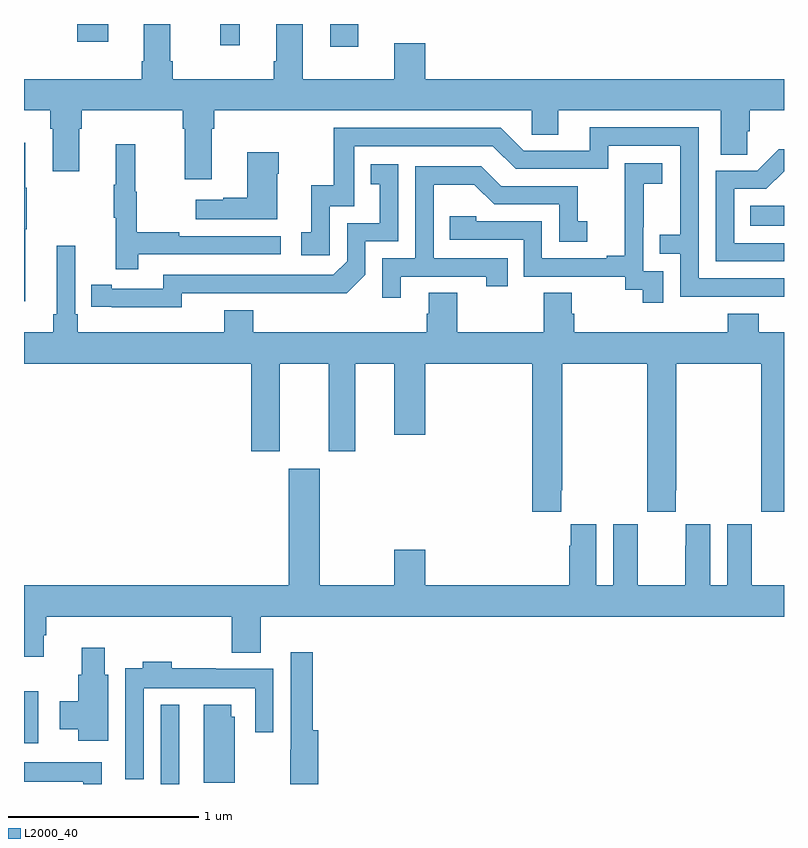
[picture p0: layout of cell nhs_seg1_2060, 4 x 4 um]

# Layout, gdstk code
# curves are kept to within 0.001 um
import gdstk
lib = gdstk.Library(unit=1e-6, precision=1e-09)
def R(c, l, rs):  # rectangles x0, y0, x1, y1
    for r in rs: c.add(gdstk.rectangle(r[:2], r[2:], *l))
def P(c, l, *ps):  # polygons
    for p in ps: c.add(gdstk.Polygon(p, *l))
L2000_40 = (2000, 40)

nhs_seg1_2060 = lib.new_cell('nhs_seg1_2060')
R(nhs_seg1_2060, L2000_40, [(223.719,536.199,223.816,536.617), (223,536.414,223.075,536.686), (226.822,539.138,227,539.242), (224.612,540.078,224.758,540.199), (224.032,540.087,224.135,540.199), (223.279,540.105,223.444,540.199)])
P(nhs_seg1_2060, L2000_40, [(223.987,539.648),(224,539.648),(224,539.744),(225.672,539.744),(225.672,539.617),(225.811,539.617),(225.811,539.744),(226.667,539.744),(226.667,539.512),(226.806,539.512),(226.806,539.635),(226.82,539.635),(226.82,539.744),(227,539.744),(227,539.908),(225.112,539.908),(225.112,540.097),(224.948,540.097),(224.948,539.908),(224.467,539.908),(224.467,540.199),(224.327,540.199),(224.327,540.004),(224.315,540.004),(224.315,539.908),(223.784,539.908),(223.784,540.004),(223.771,540.004),(223.771,540.199),(223.631,540.199),(223.631,540.004),(223.619,540.004),(223.619,539.908),(223,539.908),(223,539.744),(223.139,539.744),(223.139,539.648),(223.151,539.648),(223.151,539.424),(223.291,539.424),(223.291,539.648),(223.304,539.648),(223.304,539.744),(223.835,539.744),(223.835,539.648),(223.847,539.648),(223.847,539.382),(223.987,539.382)],
  [(227,538.86),(226.551,538.86),(226.551,539.655),(225.977,539.655),(225.977,539.532),(225.63,539.532),(225.51,539.652),(224.631,539.652),(224.631,539.35),(224.513,539.35),(224.513,539.103),(224.46,539.103),(224.46,538.983),(224.61,538.983),(224.61,539.241),(224.739,539.241),(224.739,539.556),(225.468,539.556),(225.588,539.436),(226.074,539.436),(226.074,539.559),(226.455,539.559),(226.455,539.09),(226.345,539.09),(226.345,538.989),(226.455,538.989),(226.455,538.764),(227,538.763)],
  [(223.006,539.119),(223.014,539.119),(223.014,539.336),(223.006,539.336),(223.006,539.575),(223,539.575),(223,538.74),(223.006,538.74)],
  [(223.601,538.986),(224.35,538.986),(224.35,539.082),(223.817,539.082),(223.817,539.102),(223.594,539.102),(223.594,539.316),(223.586,539.316),(223.586,539.566),(223.484,539.566),(223.484,539.353),(223.473,539.353),(223.473,539.179),(223.484,539.179),(223.484,538.908),(223.601,538.908)],
  [(227,539.046),(226.737,539.046),(226.737,539.331),(226.906,539.331),(227,539.425),(227,539.54),(226.973,539.54),(226.86,539.427),(226.641,539.427),(226.641,538.95),(227,538.95)],
  [(224.332,539.411),(224.34,539.411),(224.34,539.524),(224.174,539.524),(224.174,539.285),(224.048,539.285),(224.048,539.275),(223.905,539.275),(223.905,539.171),(224.332,539.171)],
  [(226.365,538.899),(226.26,538.899),(226.26,539.129),(226.262,539.129),(226.262,539.357),(226.36,539.357),(226.36,539.467),(226.162,539.467),(226.162,539.261),(226.163,539.261),(226.163,538.978),(226.067,538.978),(226.067,538.965),(225.726,538.965),(225.726,539.16),(225.381,539.16),(225.381,539.187),(225.241,539.187),(225.241,539.064),(225.63,539.064),(225.63,538.869),(226.164,538.869),(226.164,538.801),(226.257,538.801),(226.257,538.731),(226.365,538.731)],
  [(223.83,538.782),(224.698,538.781),(224.796,538.878),(224.796,539.055),(224.97,539.055),(224.97,539.461),(224.824,539.461),(224.824,539.355),(224.873,539.355),(224.873,539.151),(224.7,539.151),(224.7,538.95),(224.628,538.878),(223.734,538.878),(223.734,538.806),(223.462,538.806),(223.462,538.826),(223.354,538.826),(223.354,538.71),(223.83,538.709)],
  [(224.983,538.869),(225.434,538.869),(225.434,538.818),(225.545,538.818),(225.545,538.965),(225.156,538.965),(225.156,539.354),(225.37,539.354),(225.474,539.25),(225.816,539.25),(225.816,539.052),(225.964,539.052),(225.964,539.161),(225.915,539.161),(225.915,539.346),(225.511,539.346),(225.406,539.451),(225.06,539.451),(225.06,538.965),(224.886,538.965),(224.886,538.758),(224.983,538.758)],
  [(225.827,537.745),(225.834,537.745),(225.834,538.412),(226.279,538.412),(226.279,537.745),(226.281,537.745),(226.281,537.633),(226.431,537.633),(226.431,537.745),(226.434,537.745),(226.434,538.412),(226.879,538.412),(226.879,537.745),(226.881,537.745),(226.881,537.633),(227,537.633),(227,538.576),(226.868,538.576),(226.868,538.675),(226.703,538.675),(226.703,538.576),(225.896,538.576),(225.896,538.674),(225.883,538.674),(225.883,538.784),(225.736,538.784),(225.736,538.576),(225.279,538.576),(225.279,538.784),(225.131,538.784),(225.131,538.674),(225.119,538.674),(225.119,538.576),(224.207,538.576),(224.207,538.693),(224.054,538.693),(224.054,538.576),(223.283,538.576),(223.283,538.672),(223.269,538.672),(223.269,539.032),(223.172,539.032),(223.172,538.672),(223.153,538.672),(223.153,538.576),(223,538.576),(223,538.412),(224.195,538.412),(224.195,537.951),(224.347,537.951),(224.347,538.412),(224.603,538.412),(224.603,537.951),(224.743,537.951),(224.743,538.412),(224.948,538.412),(224.948,538.038),(225.112,538.038),(225.112,538.412),(225.674,538.412),(225.674,537.633),(225.827,537.633)],
  [(223.105,536.982),(223.118,536.982),(223.118,537.08),(224.093,537.08),(224.093,536.891),(224.245,536.891),(224.245,537.08),(227,537.08),(227,537.244),(226.831,537.244),(226.831,537.452),(226.83,537.452),(226.83,537.565),(226.7,537.565),(226.7,537.244),(226.612,537.244),(226.612,537.565),(226.482,537.565),(226.482,537.452),(226.481,537.452),(226.481,537.244),(226.231,537.244),(226.231,537.452),(226.23,537.452),(226.23,537.565),(226.1,537.565),(226.1,537.244),(226.012,537.244),(226.012,537.565),(225.878,537.565),(225.878,537.452),(225.869,537.452),(225.869,537.244),(225.112,537.244),(225.112,537.433),(224.948,537.433),(224.948,537.244),(224.557,537.244),(224.557,537.859),(224.393,537.859),(224.393,537.244),(223,537.244),(223,536.868),(223.105,536.868)],
  [(223.444,536.775),(223.426,536.775),(223.426,536.917),(223.304,536.917),(223.304,536.775),(223.286,536.775),(223.286,536.634),(223.187,536.634),(223.187,536.486),(223.286,536.486),(223.286,536.427),(223.444,536.427)],
  [(224.549,536.482),(224.519,536.482),(224.519,536.893),(224.403,536.893),(224.403,536.378),(224.402,536.378),(224.402,536.199),(224.549,536.199)],
  [(223.629,536.702),(224.217,536.702),(224.217,536.472),(224.313,536.472),(224.313,536.806),(224.009,536.806),(224.009,536.809),(223.778,536.809),(223.778,536.842),(223.625,536.842),(223.625,536.809),(223.533,536.809),(223.533,536.225),(223.629,536.225)],
  [(224.11,536.553),(224.092,536.553),(224.092,536.617),(223.946,536.617),(223.946,536.206),(224.11,536.206)],
  [(223.41,536.314),(223,536.314),(223,536.21),(223.313,536.21),(223.313,536.199),(223.41,536.199)])

lib.write_gds('nhs_seg1_2060.gds')
